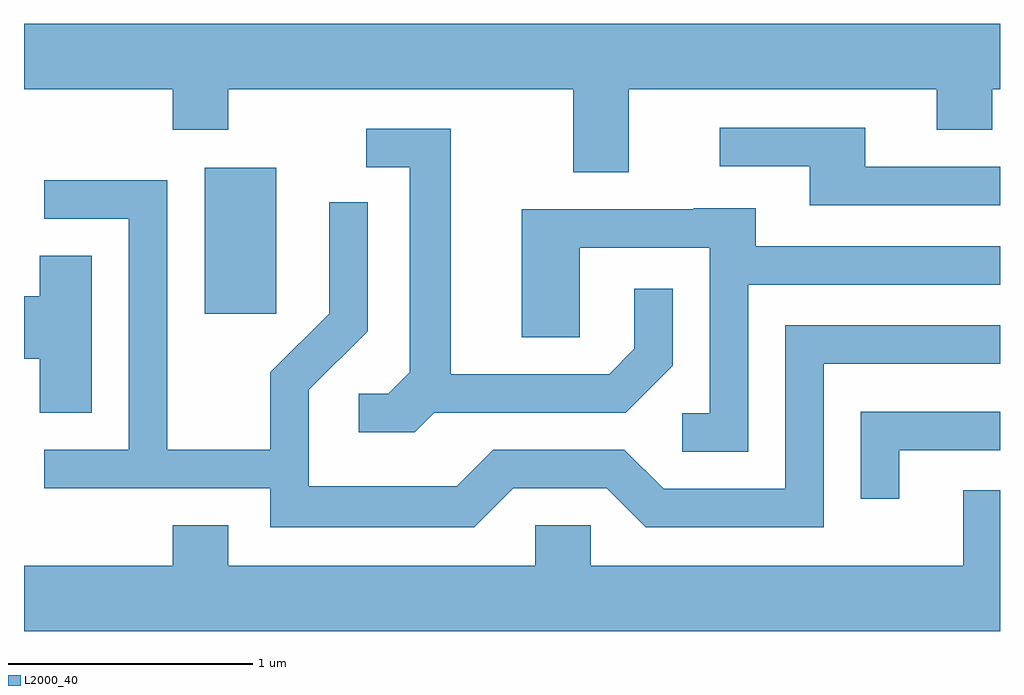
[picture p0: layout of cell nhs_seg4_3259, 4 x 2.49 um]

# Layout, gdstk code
import gdstk
lib = gdstk.Library(unit=1e-6, precision=1e-09)
def R(c, l, rs):  # rectangles x0, y0, x1, y1
    for r in rs: c.add(gdstk.rectangle(r[:2], r[2:], *l))
def P(c, l, *ps):  # polygons
    for p in ps: c.add(gdstk.Polygon(p, *l))
L2000_40 = (2000, 40)

nhs_seg4_3259 = lib.new_cell('nhs_seg4_3259')
R(nhs_seg4_3259, L2000_40, [(280.351,1382.616,280.644,1383.214)])
P(nhs_seg4_3259, L2000_40, [(282.089,1383.536),(283.351,1383.536),(283.351,1383.371),(283.579,1383.371),(283.579,1383.536),(283.611,1383.536),(283.611,1383.804),(279.611,1383.804),(279.611,1383.536),(280.221,1383.536),(280.221,1383.371),(280.449,1383.371),(280.449,1383.536),(281.861,1383.536),(281.861,1383.196),(282.089,1383.196)],
  [(283.611,1383.219),(283.059,1383.219),(283.059,1383.379),(282.463,1383.379),(282.463,1383.221),(282.831,1383.221),(282.831,1383.061),(283.611,1383.061)],
  [(281.292,1382.211),(282.077,1382.211),(282.269,1382.404),(282.269,1382.718),(282.111,1382.718),(282.111,1382.472),(282.009,1382.369),(281.359,1382.369),(281.359,1383.374),(281.013,1383.374),(281.013,1383.216),(281.191,1383.216),(281.191,1382.377),(281.104,1382.289),(280.983,1382.289),(280.983,1382.131),(281.212,1382.131)],
  [(281.617,1381.901),(281.999,1381.901),(282.159,1381.741),(282.889,1381.741),(282.889,1382.411),(283.611,1382.411),(283.611,1382.569),(282.731,1382.569),(282.731,1381.899),(282.232,1381.899),(282.072,1382.059),(281.534,1382.059),(281.384,1381.909),(280.779,1381.909),(280.779,1382.304),(281.019,1382.544),(281.019,1383.073),(280.861,1383.073),(280.861,1382.617),(280.621,1382.377),(280.621,1382.059),(280.199,1382.059),(280.199,1383.164),(279.693,1383.164),(279.693,1383.006),(280.041,1383.006),(280.041,1382.059),(279.693,1382.059),(279.693,1381.901),(280.621,1381.901),(280.621,1381.741),(281.457,1381.741)],
  [(282.579,1382.736),(283.611,1382.736),(283.611,1382.894),(282.609,1382.894),(282.609,1383.049),(282.355,1383.049),(282.355,1383.044),(281.651,1383.044),(281.651,1382.521),(281.889,1382.521),(281.889,1382.886),(282.421,1382.886),(282.421,1382.209),(282.308,1382.209),(282.308,1382.051),(282.579,1382.051)],
  [(279.889,1382.854),(279.676,1382.854),(279.676,1382.689),(279.611,1382.689),(279.611,1382.431),(279.676,1382.431),(279.676,1382.211),(279.889,1382.211)],
  [(283.199,1382.056),(283.611,1382.056),(283.611,1382.214),(283.041,1382.214),(283.041,1381.858),(283.199,1381.858)],
  [(283.611,1381.894),(283.461,1381.894),(283.461,1381.584),(281.934,1381.584),(281.934,1381.749),(281.706,1381.749),(281.706,1381.584),(280.449,1381.584),(280.449,1381.749),(280.221,1381.749),(280.221,1381.584),(279.611,1381.584),(279.611,1381.316),(283.611,1381.316)])

lib.write_gds('nhs_seg4_3259.gds')
